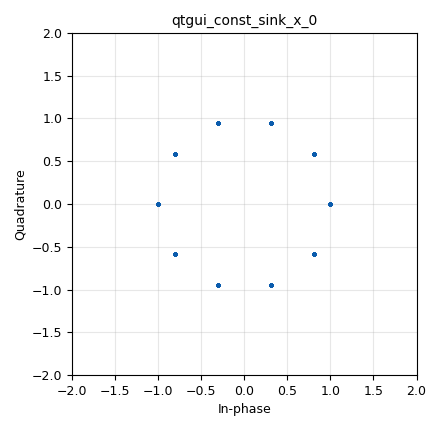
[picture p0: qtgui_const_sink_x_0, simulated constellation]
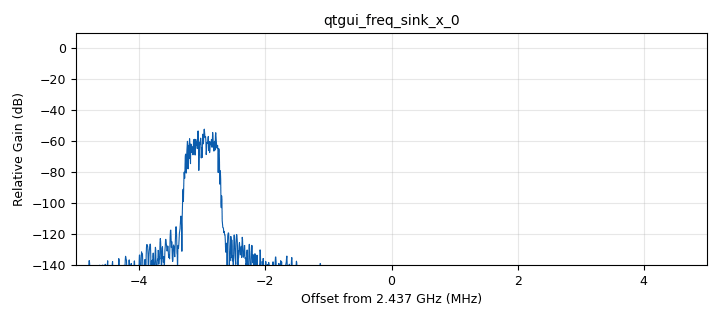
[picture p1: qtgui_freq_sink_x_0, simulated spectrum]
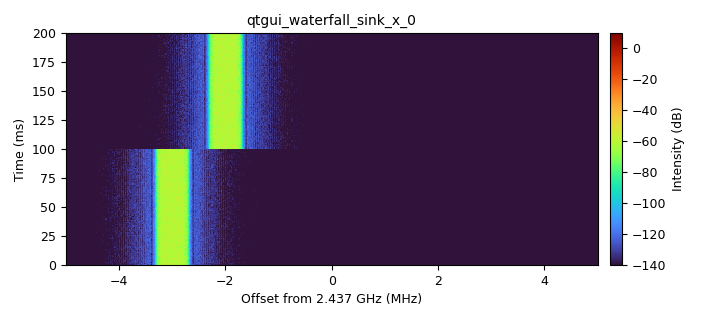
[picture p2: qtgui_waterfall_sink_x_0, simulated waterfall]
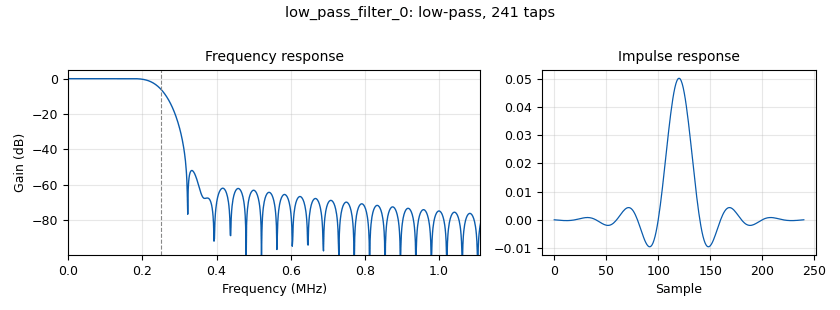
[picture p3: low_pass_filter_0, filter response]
options:
  parameters:
    generate_options: qt_gui
    id: marzo
    output_language: python
    title: Not titled yet
  states: {}

blocks:
- name: amplitude
  id: variable_qtgui_range
  parameters:
    label: Amplitud
    start: '0.0'
    step: '0.01'
    stop: '2.0'
    value: '1.0'
  states: {}
- name: center_freq
  id: variable
  parameters:
    value: '2437000000'
  states: {}
- name: hop_freq
  id: variable
  parameters:
    value: '0'
  states: {}
- name: phase_offset
  id: variable_qtgui_range
  parameters:
    label: Fase (rad)
    start: '0'
    step: '0.01'
    stop: '6.28'
    value: '0'
  states: {}
- name: samp_rate
  id: variable
  parameters:
    value: '10000000'
  states: {}
- name: signal_bw
  id: variable_qtgui_range
  parameters:
    label: Ancho de banda
    start: '100000'
    step: '10000'
    stop: '2000000'
    value: '500000'
  states: {}
- name: analog_noise_source_x_0
  id: analog_noise_source_x
  parameters:
    amp: '0.1'
    noise_type: analog.GR_GAUSSIAN
    seed: '0'
    type: complex
  states: {}
- name: blocks_multiply_const_vxx_0
  id: blocks_multiply_const_vxx
  parameters:
    const: amplitude
    type: complex
  states: {}
- name: blocks_multiply_xx_0
  id: blocks_multiply_xx
  parameters:
    type: complex
  states: {}
- name: epy_block_0
  id: epy_block
  parameters:
    _source_code: |
      import numpy as np
      from gnuradio import gr

      class blk(gr.sync_block):
          def __init__(self, samp_rate=10e6, hop_rate=50):
              gr.sync_block.__init__(
                  self,
                  name='Freq Hopper',
                  in_sig=None,
                  out_sig=[np.complex64]
              )
              self.samp_rate = samp_rate
              self.hop_rate = hop_rate  # saltos por segundo
              
              # Frecuencias de salto típicas del Skylink en 2.4 GHz
              # Offsets respecto al centro (en Hz)
              self.hop_table = [
                  -3e6, -2e6, -1.5e6, -1e6, -0.5e6,
                   0,
                   0.5e6, 1e6, 1.5e6, 2e6, 3e6
              ]
              
              self.current_hop = 0
              self.samples_per_hop = int(samp_rate / hop_rate)
              self.sample_count = 0
              self.phase = 0.0

          def work(self, input_items, output_items):
              out = output_items[0]
              n = len(out)
              
              for i in range(n):
                  # Cambiar frecuencia cuando se cumple el período
                  if self.sample_count >= self.samples_per_hop:
                      self.current_hop = (self.current_hop + 1) % len(self.hop_table)
                      self.sample_count = 0
                  
                  freq = self.hop_table[self.current_hop]
                  self.phase += 2 * np.pi * freq / self.samp_rate
                  self.phase %= 2 * np.pi
                  out[i] = np.exp(1j * self.phase).astype(np.complex64)
                  self.sample_count += 1
              
              return n
    hop_rate: '10'
    samp_rate: samp_rate
  states: {}
- name: low_pass_filter_0
  id: low_pass_filter
  parameters:
    cutoff_freq: signal_bw / 2
    decim: '1'
    gain: '1'
    samp_rate: samp_rate
    type: fir_filter_ccf
    width: '100000'
    win: window.WIN_HAMMING
  states: {}
- name: qtgui_const_sink_x_0
  id: qtgui_const_sink_x
  parameters:
    size: '1024'
    type: complex
  states: {}
- name: qtgui_freq_sink_x_0
  id: qtgui_freq_sink_x
  parameters:
    bw: samp_rate
    fc: center_freq
    fftsize: '2048'
    type: complex
  states: {}
- name: qtgui_waterfall_sink_x_0
  id: qtgui_waterfall_sink_x
  parameters:
    bw: samp_rate
    fc: center_freq
    fftsize: '8192'
    type: complex
  states: {}

connections:
- [analog_noise_source_x_0, '0', low_pass_filter_0, '0']
- [blocks_multiply_const_vxx_0, '0', blocks_multiply_xx_0, '1']
- [blocks_multiply_const_vxx_0, '0', qtgui_const_sink_x_0, '0']
- [blocks_multiply_xx_0, '0', qtgui_freq_sink_x_0, '0']
- [blocks_multiply_xx_0, '0', qtgui_waterfall_sink_x_0, '0']
- [epy_block_0, '0', blocks_multiply_const_vxx_0, '0']
- [low_pass_filter_0, '0', blocks_multiply_xx_0, '0']

metadata:
  file_format: 1
